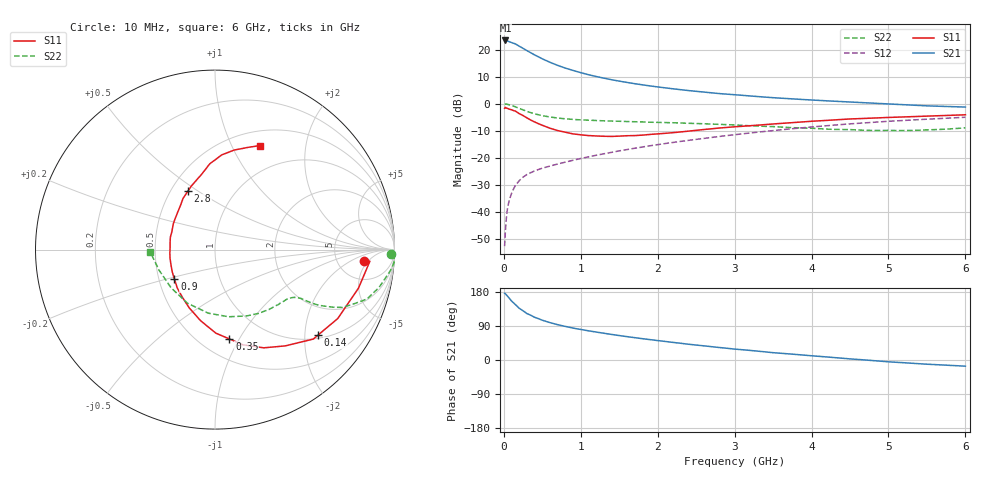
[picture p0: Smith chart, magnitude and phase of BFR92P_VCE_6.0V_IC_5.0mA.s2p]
! Infineon Technologies  Discrete & RF Semiconductors
! BFR92P
! VCE =  6.0 V,  IC =  5.0 mA
! Common Emitter S-Parameters:  Apr 2014
# GHz  S  MA  R  50
!  f  S11  S21  S12  S22
! GHz  MAG  ANG  MAG  ANG  MAG  ANG  MAG  ANG
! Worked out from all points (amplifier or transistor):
!   77 points, 10 MHz to 6 GHz, reference 50 ohm
!   highest |S21| = 23.6 dB at 20 MHz (marker M1)
!   |S21| within 3 dB of that: start of sweep to 253.5 MHz
!   unconditionally stable (mu >= 1): 1.007 GHz to 2.664 GHz
!   at 130 MHz: K = 0.24, MSG = 26.9 dB, |S12| = -31.3 dB
!   at 2.2 GHz: K = 1.04, MAG = 8.7 dB, |S12| = -14.3 dB
!   at 6 GHz: K = 0.86, MSG = 1.9 dB, |S12| = -4.9 dB
!   S11 on the Smith chart (normalised r, x): 10 MHz: 9, -4; 140 MHz: 1.09, -2.34; 350 MHz: 0.68, -0.91; 900 MHz: 0.60, -0.21; 2.8 GHz: 0.61, +0.45; 6 GHz: 0.67, +1.29
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0.01  0.8345 -4.5  14.82 175.9  0.0023 84.4  0.9825 -1.5
0.02  0.8653 -4.3  15.15 174.9  0.0043 90.0  1 -2.8
0.05  0.8276 -15.1  14.81 167.9  0.0122 80.1  0.9847 -6.8
0.1  0.7844 -29.3  13.88 155.6  0.0219 74.2  0.9385 -12.9
0.14  0.7462 -39.6  13.2 148.2  0.029 70.4  0.8997 -16.9
0.15  0.7406 -42.3  13.07 146.2  0.0308 69.7  0.8907 -18.0
0.2  0.664 -53.9  11.86 136.5  0.0378 65.1  0.8278 -21.5
0.3  0.5534 -73.5  9.807 122.6  0.0492 60.1  0.7287 -26.1
0.35  0.5046 -80.8  8.955 118.1  0.0533 58.5  0.6928 -27.1
0.4  0.4655 -89.4  8.17 112.6  0.0574 57.2  0.6572 -28.2
0.5  0.4035 -101.6  6.908 105.0  0.0645 56.9  0.609 -29.0
0.6  0.3555 -113.7  5.951 98.6  0.0706 57.0  0.5744 -29.4
0.7  0.322 -124.4  5.22 93.2  0.0771 57.5  0.5501 -29.6
0.9  0.2793 -144.2  4.201 84.2  0.0904 58.6  0.5183 -30.9
1.1  0.2599 -160.4  3.505 77.0  0.1045 59.9  0.5018 -32.4
1.5  0.2537 170.5  2.665 64.5  0.1351 60.9  0.479 -36.9
2.1  0.2862 139.0  1.996 48.9  0.1851 59.7  0.453 -46.0
2.8  0.3588 115.0  1.565 33.0  0.2499 55.8  0.4198 -59.5
3.1  0.3867 108.1  1.451 27.1  0.2798 53.0  0.4018 -67.3
4.1  0.488 91.9  1.168 9.6  0.3856 42.8  0.3485 -100.0
5.1  0.5701 77.8  0.988 -6.0  0.487 29.5  0.3225 -143.2
6  0.6319 66.6  0.879 -16.3  0.5686 16.8  0.3619 -178.1
